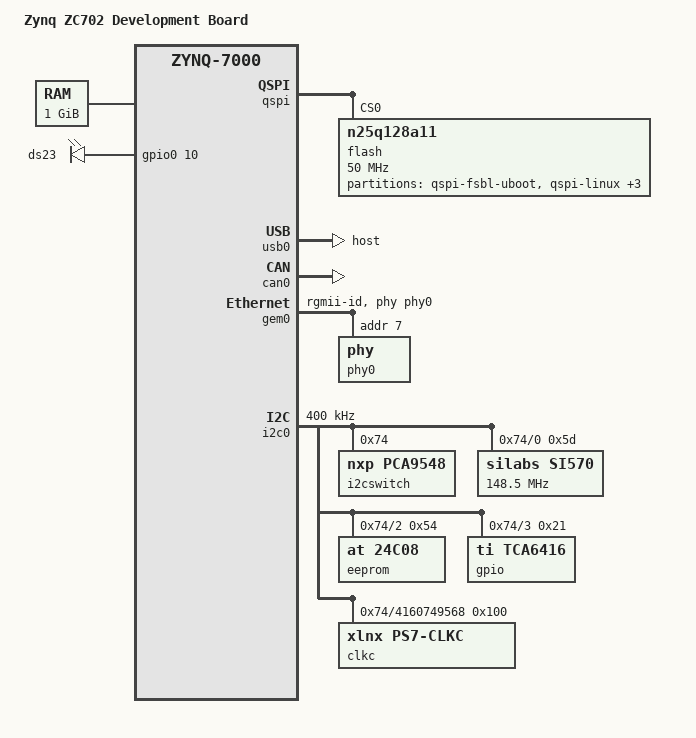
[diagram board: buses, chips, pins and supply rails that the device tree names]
/*
 *  Copyright (C) 2011 - 2014 Xilinx
 *  Copyright (C) 2012 National Instruments Corp.
 *
 * This software is licensed under the terms of the GNU General Public
 * License version 2, as published by the Free Software Foundation, and
 * may be copied, distributed, and modified under those terms.
 *
 * This program is distributed in the hope that it will be useful,
 * but WITHOUT ANY WARRANTY; without even the implied warranty of
 * MERCHANTABILITY or FITNESS FOR A PARTICULAR PURPOSE.  See the
 * GNU General Public License for more details.
 */
/dts-v1/;
/include/ "zynq-7000.dtsi"

/ {
	model = "Zynq ZC702 Development Board";
	compatible = "xlnx,zynq-zc702", "xlnx,zynq-7000";

	aliases {
		ethernet0 = &gem0;
		i2c0 = &i2c0;
		serial0 = &uart1;
		spi0 = &qspi;
	};

	memory {
		device_type = "memory";
		reg = <0x0 0x40000000>;
	};

	chosen {
		bootargs = "console=ttyPS0,115200 root=/dev/ram rw earlyprintk";
		linux,stdout-path = "/amba/serial@e0001000";
	};

	leds {
		compatible = "gpio-leds";

		ds23 {
			label = "ds23";
			gpios = <&gpio0 10 0>;
			linux,default-trigger = "heartbeat";
		};
	};
};

&qspi {
	status = "okay";
	is-dual = <0>;
	num-cs = <1>;
	flash@0 {
		compatible = "n25q128a11";
		reg = <0x0>;
		spi-tx-bus-width = <1>;
		spi-rx-bus-width = <4>;
		spi-max-frequency = <50000000>;
		#address-cells = <1>;
		#size-cells = <1>;
		partition@qspi-fsbl-uboot {
			label = "qspi-fsbl-uboot";
			reg = <0x0 0x100000>;
		};
		partition@qspi-linux {
			label = "qspi-linux";
			reg = <0x100000 0x500000>;
		};
		partition@qspi-device-tree {
			label = "qspi-device-tree";
			reg = <0x600000 0x20000>;
		};
		partition@qspi-rootfs {
			label = "qspi-rootfs";
			reg = <0x620000 0x5E0000>;
		};
		partition@qspi-bitstream {
			label = "qspi-bitstream";
			reg = <0xC00000 0x400000>;
		};
	};
};

&usb0 {
	status = "okay";
	dr_mode = "host";
	phy_type = "ulpi";
	usb-reset = <&gpio0 7 0>;
};

&can0 {
	status = "okay";
};

&gem0 {
	status = "okay";
	phy-mode = "rgmii-id";
	phy-handle = <&phy0>;

	phy0: phy@7 {
		reg = <7>;
	};
};

&i2c0 {
	status = "okay";
	clock-frequency = <400000>;

	i2cswitch@74 {
		compatible = "nxp,pca9548";
		#address-cells = <1>;
		#size-cells = <0>;
		reg = <0x74>;

		i2c@0 {
			#address-cells = <1>;
			#size-cells = <0>;
			reg = <0>;
			si570: clock-generator@5d {
				#clock-cells = <0>;
				compatible = "silabs,si570";
				temperature-stability = <50>;
				reg = <0x5d>;
				factory-fout = <156250000>;
				clock-frequency = <148500000>;
			};
		};

		i2c@2 {
			#address-cells = <1>;
			#size-cells = <0>;
			reg = <2>;
			eeprom@54 {
				compatible = "at,24c08";
				reg = <0x54>;
			};
		};

		i2c@3 {
			#address-cells = <1>;
			#size-cells = <0>;
			reg = <3>;
			gpio@21 {
				compatible = "ti,tca6416";
				reg = <0x21>;
				gpio-controller;
				#gpio-cells = <2>;
			};
		};

		i2c@4 {
			#address-cells = <1>;
			#size-cells = <1>;
			compatible = "xlnx,zynq-slcr", "syscon";
			ranges ;
			reg = <0xf8000000 0x1000>;
			clkc: clkc@100 {
				#clock-cells = <1>;
				clock-output-names = "armpll", "ddrpll", "iopll", "cpu_6or4x", "cpu_3or2x",
					"cpu_2x", "cpu_1x", "ddr2x", "ddr3x", "dci",
					"lqspi", "smc", "pcap", "gem0", "gem1",
					"fclk0", "fclk1", "fclk2", "fclk3", "can0",
					"can1", "sdio0", "sdio1", "uart0", "uart1",
					"spi0", "spi1", "dma", "usb0_aper", "usb1_aper",
					"gem0_aper", "gem1_aper", "sdio0_aper", "sdio1_aper", "spi0_aper",
					"spi1_aper", "can0_aper", "can1_aper", "i2c0_aper", "i2c1_aper",
					"uart0_aper", "uart1_aper", "gpio_aper", "lqspi_aper", "smc_aper",
					"swdt", "dbg_trc", "dbg_apb";
				compatible = "xlnx,ps7-clkc";
				fclk-enable = <0xf>;
				ps-clk-frequency = <33333333>;
				reg = <0x100 0x100>;
			} ;
		} ;
		ps7_ttc_0: ps7-ttc@f8001000 {
			clocks = <&clkc 6>;
			compatible = "cdns,ttc";
			interrupt-names = "ttc0", "ttc1", "ttc2";
			interrupt-parent = <&ps7_scugic_0>;
			interrupts = <0 10 4>, <0 11 4>, <0 12 4>;
			reg = <0xf8001000 0x1000>;
		} ;
		ps7_uart_1: serial@e0001000 {
			clock-names = "ref_clk", "aper_clk";
			clocks = <&clkc 24>, <&clkc 41>;
			compatible = "xlnx,xuartps";
			current-speed = <115200>;
			device_type = "serial";
			interrupt-parent = <&ps7_scugic_0>;
			interrupts = <0 50 4>;
			port-number = <0>;
			reg = <0xe0001000 0x1000>;
			xlnx,has-modem = <0x0>;
		} ;
		ps7_usb_0: ps7-usb@e0002000 {
			clocks = <&clkc 28>;
			compatible = "xlnx,ps7-usb-1.00.a", "xlnx,zynq-usb-1.00.a";
			dr_mode = "host";
			interrupt-parent = <&ps7_scugic_0>;
			interrupts = <0 21 4>;
			phy_type = "ulpi";
			reg = <0xe0002000 0x1000>;
			usb-reset = <&ps7_gpio_0 7 0>;
		} ;
		ps7_wdt_0: ps7-wdt@f8005000 {
			clocks = <&clkc 45>;
			compatible = "xlnx,zynq-wdt-r1p2";
			device_type = "watchdog";
			interrupt-parent = <&ps7_scugic_0>;
			interrupts = <0 9 1>;
			reg = <0xf8005000 0x1000>;
			reset = <0>;
			timeout-sec = <10>;
		} ;
		ps7_xadc: ps7-xadc@f8007100 {
			clocks = <&clkc 12>;
			compatible = "xlnx,zynq-xadc-1.00.a";
			interrupt-parent = <&ps7_scugic_0>;
			interrupts = <0 7 4>;
			reg = <0xf8007100 0x20>;
		} ;
		axi_dma_0: axidma@40410000 {
                        compatible = "xlnx,axi-dma";
                        reg = < 0x40410000 0x10000 >;
                        dma-channel@40410030 {
                                compatible = "xlnx,axi-dma-s2mm-channel";
                                interrupt-parent = <&ps7_scugic_0>;
				interrupts = <0 59 4>;
                                xlnx,datawidth = <0x40>;
                                xlnx,device-id = <0x0>;
                        };
                } ;
		mercury_0: mercury@40400000 {
			compatible = "mercury";
			reg = <0x40400000 0x10000>;
		} ;
	} ;
} ;
